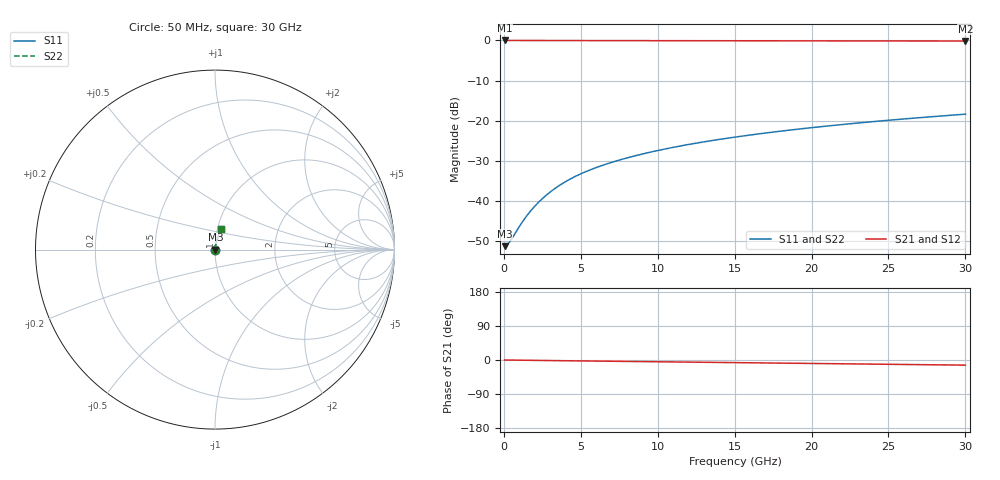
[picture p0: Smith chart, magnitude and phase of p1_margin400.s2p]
#  Hz  S  RI  R  50
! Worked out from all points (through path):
!   600 points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, 50 MHz to 30 GHz, reference 50 ohm
!   highest |S21| = -0.03 dB at 50 MHz (marker M1); lowest = -0.2 dB at 30 GHz (marker M2)
!   group delay of S21, straight-line fit = 1.24 ps
!   lowest |S11| = -51.2 dB at 50 MHz (marker M3), VSWR 1.01, Z = 50.3 + j0.0199 ohm
!   |S11| at or under -10 dB: start of sweep to end of sweep
!   |S22| runs from -51.2 to -18.4 dB; largest |S21 - S12| = 5e-07
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5e7  0.00273 0.000198  0.9965 -0.000467  0.9965 -0.000467  0.00273 0.000198
2e8  0.00273 0.000791  0.9964 -0.00187  0.9964 -0.00187  0.00273 0.000791
4e8  0.00272 0.00158  0.9964 -0.00373  0.9964 -0.00373  0.00272 0.00158
5.5e8  0.0027 0.00218  0.9963 -0.00512  0.9963 -0.00512  0.0027 0.00218
1.15e9  0.00261 0.00461  0.996 -0.0106  0.996 -0.0106  0.00261 0.00461
1.6e9  0.00254 0.0065  0.9955 -0.0146  0.9955 -0.0146  0.00254 0.0065
2e9  0.00249 0.00821  0.9951 -0.018  0.9951 -0.018  0.00249 0.00821
2.45e9  0.00246 0.0102  0.9946 -0.0218  0.9946 -0.0218  0.00246 0.0102
3e9  0.00252 0.0126  0.994 -0.0263  0.994 -0.0263  0.00252 0.0126
3.65e9  0.0027 0.0156  0.9933 -0.0314  0.9933 -0.0314  0.0027 0.0156
4.3e9  0.00301 0.0185  0.9927 -0.0365  0.9927 -0.0365  0.00301 0.0185
5.05e9  0.00348 0.0217  0.992 -0.0424  0.992 -0.0424  0.00348 0.0217
6.05e9  0.00423 0.026  0.9912 -0.0502  0.9912 -0.0502  0.00423 0.026
7.2e9  0.00515 0.0307  0.9901 -0.0592  0.9901 -0.0592  0.00515 0.0307
8.55e9  0.00627 0.0361  0.9887 -0.0696  0.9887 -0.0696  0.00627 0.0361
1.005e10  0.00763 0.042  0.987 -0.0812  0.987 -0.0812  0.00762 0.042
1.235e10  0.00994 0.051  0.9843 -0.0987  0.9843 -0.0987  0.00994 0.051
1.505e10  0.0129 0.0612  0.9807 -0.1192  0.9807 -0.1192  0.0129 0.0612
1.745e10  0.0159 0.0702  0.9771 -0.1372  0.9771 -0.1372  0.0159 0.0702
2.005e10  0.0194 0.0797  0.9729 -0.1566  0.9729 -0.1566  0.0194 0.0797
2.505e10  0.0271 0.0977  0.9635 -0.1936  0.9635 -0.1936  0.0271 0.0977
3e10  0.036 0.115  0.9525 -0.2298  0.9525 -0.2298  0.0359 0.115
